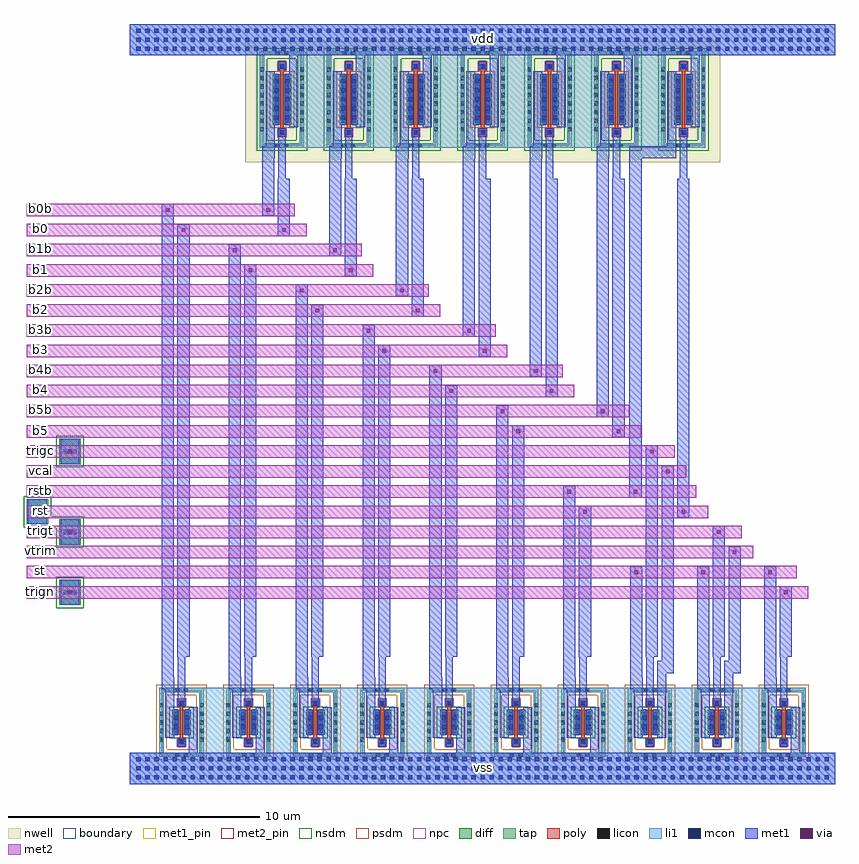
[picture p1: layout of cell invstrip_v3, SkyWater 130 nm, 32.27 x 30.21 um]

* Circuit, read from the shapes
.subckt invstrip_v3 b0 b0b b1 b1b b2 b2b b3 b3b b4 b4b b5 b5b rst rstb st trigc trign trigt vcal vdd vss vtrim
XM1 vss b0 b0b vss sky130_fd_pr__nfet_01v8 w=1 l=0.15
XM2 vss b1 b1b vss sky130_fd_pr__nfet_01v8 w=1 l=0.15
XM3 vss b2 b2b vss sky130_fd_pr__nfet_01v8 w=1 l=0.15
XM4 vss b3 b3b vss sky130_fd_pr__nfet_01v8 w=1 l=0.15
XM5 vss b4 b4b vss sky130_fd_pr__nfet_01v8 w=1 l=0.15
XM6 vss b5 b5b vss sky130_fd_pr__nfet_01v8 w=1 l=0.15
XM7 vss rst rstb vss sky130_fd_pr__nfet_01v8 w=1 l=0.15
XM8 vcal trigc st vss sky130_fd_pr__nfet_01v8 w=1 l=0.15
XM9 vtrim trigt st vss sky130_fd_pr__nfet_01v8 w=1 l=0.15
XM10 vss trign st vss sky130_fd_pr__nfet_01v8 w=1 l=0.15
XM11 vdd b0 b0b vdd sky130_fd_pr__pfet_01v8 w=2 l=0.15
XM12 vdd b1 b1b vdd sky130_fd_pr__pfet_01v8 w=2 l=0.15
XM13 vdd b2 b2b vdd sky130_fd_pr__pfet_01v8 w=2 l=0.15
XM14 vdd b3 b3b vdd sky130_fd_pr__pfet_01v8 w=2 l=0.15
XM15 vdd b4 b4b vdd sky130_fd_pr__pfet_01v8 w=2 l=0.15
XM16 vdd b5 b5b vdd sky130_fd_pr__pfet_01v8 w=2 l=0.15
XM17 vdd rst rstb vdd sky130_fd_pr__pfet_01v8 w=2 l=0.15
.ends

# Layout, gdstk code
import gdstk
lib = gdstk.Library(unit=1e-6, precision=1e-09)
def R(c, l, rs):  # rectangles x0, y0, x1, y1
    for r in rs: c.add(gdstk.rectangle(r[:2], r[2:], *l))
def A(c, l, x, y, w, h, nx, ny, dx, dy):  # array of equal rectangles
    R(c, l, [(x+i*dx, y+j*dy, x+i*dx+w, y+j*dy+h) for i in range(nx) for j in range(ny)])
nwell = (64, 20)
diff = (65, 20)
tap = (65, 44)
poly = (66, 20)
licon = (66, 44)
li1 = (67, 20)
mcon = (67, 44)
met1_pin = (68, 16)
met1 = (68, 20)
via = (68, 44)
met2_pin = (69, 16)
met2 = (69, 20)
nsdm = (93, 44)
psdm = (94, 20)
npc = (95, 20)
boundary = (235, 4)

sky130_fd_pr__nfet_01v8_ = lib.new_cell('sky130_fd_pr__nfet_01v8_LB55D5')
R(sky130_fd_pr__nfet_01v8_, diff, [(-0.365,-0.5,0.365,0.5)])
R(sky130_fd_pr__nfet_01v8_, tap, [(-0.875,-1.37,0.875,-1.2), (-0.875,-1.2,-0.705,1.2), (0.705,-1.2,0.875,1.2), (-0.875,1.2,0.875,1.37)])
R(sky130_fd_pr__nfet_01v8_, poly, [(-0.165,-0.94,0.165,-0.61), (-0.075,-0.61,0.075,0.61), (-0.165,0.61,0.165,0.94)])
A(sky130_fd_pr__nfet_01v8_, licon, -0.875, -0.765, 0.17, 0.17, 1, 5, 0, 0.34)
A(sky130_fd_pr__nfet_01v8_, licon, 0.705, -0.765, 0.17, 0.17, 1, 5, 0, 0.34)
A(sky130_fd_pr__nfet_01v8_, licon, -0.305, -0.425, 0.17, 0.17, 1, 3, 0, 0.34)
A(sky130_fd_pr__nfet_01v8_, licon, 0.135, -0.425, 0.17, 0.17, 1, 3, 0, 0.34)
R(sky130_fd_pr__nfet_01v8_, licon, [(-0.255,-1.37,-0.085,-1.2), (0.085,-1.37,0.255,-1.2), (-0.085,-0.86,0.085,-0.69), (-0.085,0.69,0.085,0.86), (-0.255,1.2,-0.085,1.37), (0.085,1.2,0.255,1.37)])
R(sky130_fd_pr__nfet_01v8_, li1, [(-0.875,-1.37,0.875,-1.2), (-0.875,-1.2,-0.705,1.2), (0.705,-1.2,0.875,1.2), (-0.165,-0.86,0.165,-0.69), (-0.305,-0.52,-0.135,0.52), (0.135,-0.52,0.305,0.52), (-0.165,0.69,0.165,0.86), (-0.875,1.2,0.875,1.37)])
R(sky130_fd_pr__nfet_01v8_, mcon, [(-0.085,-0.86,0.085,-0.69), (-0.305,-0.265,-0.135,-0.095), (0.135,-0.265,0.305,-0.095), (-0.305,0.095,-0.135,0.265), (0.135,0.095,0.305,0.265), (-0.085,0.69,0.085,0.86)])
R(sky130_fd_pr__nfet_01v8_, met1, [(-0.145,-0.89,0.145,-0.66), (-0.335,-0.5,-0.105,0.5), (0.105,-0.5,0.335,0.5), (-0.145,0.66,0.145,0.89)])
R(sky130_fd_pr__nfet_01v8_, nsdm, [(-0.49,-0.625,0.49,0.625)])
R(sky130_fd_pr__nfet_01v8_, psdm, [(-1,-1.495,1,-1.075), (-1,-1.075,-0.58,1.075), (0.58,-1.075,1,1.075), (-1,1.075,1,1.495)])
R(sky130_fd_pr__nfet_01v8_, npc, [(-0.185,-0.96,0.185,-0.59), (-0.185,0.59,0.185,0.96)])
R(sky130_fd_pr__nfet_01v8_, boundary, [(-0.79,-1.285,0.79,1.285)])
sky130_fd_pr__nfet_01v8_.add(gdstk.Label('B', (0,-1.285), layer=67, texttype=5))
sky130_fd_pr__nfet_01v8_.add(gdstk.Label('D', (-0.22,0), layer=67, texttype=5))
sky130_fd_pr__nfet_01v8_.add(gdstk.Label('S', (0.22,0), layer=67, texttype=5))
sky130_fd_pr__nfet_01v8_.add(gdstk.Label('G', (0,0.775), layer=67, texttype=5))

sky130_fd_pr__pfet_01v8_ = lib.new_cell('sky130_fd_pr__pfet_01v8_M3PB37')
R(sky130_fd_pr__pfet_01v8_, nwell, [(-1.055,-2.095,1.055,2.095)])
R(sky130_fd_pr__pfet_01v8_, diff, [(-0.365,-1,0.365,1)])
R(sky130_fd_pr__pfet_01v8_, tap, [(-0.875,-1.915,0.875,-1.745), (-0.875,-1.745,-0.705,1.745), (0.705,-1.745,0.875,1.745), (-0.875,1.745,0.875,1.915)])
R(sky130_fd_pr__pfet_01v8_, poly, [(-0.165,-1.485,0.165,-1.155), (-0.075,-1.155,0.075,1.155), (-0.165,1.155,0.165,1.485)])
A(sky130_fd_pr__pfet_01v8_, licon, -0.875, -1.275, 0.17, 0.17, 1, 8, 0, 0.34)
A(sky130_fd_pr__pfet_01v8_, licon, 0.705, -1.275, 0.17, 0.17, 1, 8, 0, 0.34)
A(sky130_fd_pr__pfet_01v8_, licon, -0.305, -0.935, 0.17, 0.17, 1, 6, 0, 0.34)
A(sky130_fd_pr__pfet_01v8_, licon, 0.135, -0.935, 0.17, 0.17, 1, 6, 0, 0.34)
R(sky130_fd_pr__pfet_01v8_, licon, [(-0.255,-1.915,-0.085,-1.745), (0.085,-1.915,0.255,-1.745), (-0.085,-1.405,0.085,-1.235), (-0.085,1.235,0.085,1.405), (-0.255,1.745,-0.085,1.915), (0.085,1.745,0.255,1.915)])
R(sky130_fd_pr__pfet_01v8_, li1, [(-0.875,-1.915,0.875,-1.745), (-0.875,-1.745,-0.705,1.745), (0.705,-1.745,0.875,1.745), (-0.165,-1.405,0.165,-1.235), (-0.305,-1.02,-0.135,1.02), (0.135,-1.02,0.305,1.02), (-0.165,1.235,0.165,1.405), (-0.875,1.745,0.875,1.915)])
A(sky130_fd_pr__pfet_01v8_, mcon, -0.305, -0.805, 0.17, 0.17, 1, 5, 0, 0.36)
A(sky130_fd_pr__pfet_01v8_, mcon, 0.135, -0.805, 0.17, 0.17, 1, 5, 0, 0.36)
R(sky130_fd_pr__pfet_01v8_, mcon, [(-0.085,-1.405,0.085,-1.235), (-0.085,1.235,0.085,1.405)])
R(sky130_fd_pr__pfet_01v8_, met1, [(-0.145,-1.435,0.145,-1.205), (-0.335,-1,-0.105,1), (0.105,-1,0.335,1), (-0.145,1.205,0.145,1.435)])
R(sky130_fd_pr__pfet_01v8_, nsdm, [(-1,-2.04,1,-1.62), (-1,-1.62,-0.58,1.62), (0.58,-1.62,1,1.62), (-1,1.62,1,2.04)])
R(sky130_fd_pr__pfet_01v8_, psdm, [(-0.49,-1.125,0.49,1.125)])
R(sky130_fd_pr__pfet_01v8_, npc, [(-0.185,-1.505,0.185,-1.135), (-0.185,1.135,0.185,1.505)])
R(sky130_fd_pr__pfet_01v8_, boundary, [(-0.79,-1.83,0.79,1.83)])
sky130_fd_pr__pfet_01v8_.add(gdstk.Label('B', (0,-1.83), layer=67, texttype=5))
sky130_fd_pr__pfet_01v8_.add(gdstk.Label('D', (-0.22,0), layer=67, texttype=5))
sky130_fd_pr__pfet_01v8_.add(gdstk.Label('S', (0.22,0), layer=67, texttype=5))
sky130_fd_pr__pfet_01v8_.add(gdstk.Label('G', (0,1.32), layer=67, texttype=5))

invstrip_v3 = lib.new_cell('invstrip_v3')
R(invstrip_v3, nwell, [(3.59,-5.49,22.46,-0.68)])
R(invstrip_v3, diff, [(-3.8,-23.09,-2.95,-22.09), (-3.8,-20.69,-2.95,-19.69), (-5.1,-19.89,-4.25,-18.89), (-3.8,-17.49,-2.95,-16.49)])
R(invstrip_v3, licon, [(-3.63,-22.675,-3.46,-22.505), (-3.29,-22.675,-3.12,-22.505), (-3.63,-20.275,-3.46,-20.105), (-3.29,-20.275,-3.12,-20.105), (-4.93,-19.475,-4.76,-19.305), (-4.59,-19.475,-4.42,-19.305), (-3.63,-17.075,-3.46,-16.905), (-3.29,-17.075,-3.12,-16.905)])
A(invstrip_v3, li1, 1.93, -28.96, 0.91, 2.57, 9, 1, 2.66, 0)
A(invstrip_v3, li1, 5.92, -4.91, 0.91, 3.66, 6, 1, 2.66, 0)
R(invstrip_v3, li1, [(-1,-30.21,27.05,-28.96), (-3.75,-23.09,-3,-22.09), (-3.75,-20.69,-3,-19.69), (-5.05,-19.89,-4.3,-18.89), (-3.75,-17.49,-3,-16.49), (-1,-1.25,27.05,0)])
A(invstrip_v3, mcon, -0.74, -30.03, 0.17, 0.17, 77, 3, 0.36, 0.36)
A(invstrip_v3, mcon, -0.74, -1.07, 0.17, 0.17, 77, 3, 0.36, 0.36)
R(invstrip_v3, mcon, [(-3.46,-22.675,-3.29,-22.505), (-3.46,-20.275,-3.29,-20.105), (-4.76,-19.475,-4.59,-19.305), (-3.46,-17.075,-3.29,-16.905)])
R(invstrip_v3, met1_pin, [(13.025,-29.585,13.125,-29.485), (13.025,-0.625,13.125,-0.525)])
A(invstrip_v3, met1, 1.34, -28.96, 0.36, 1.81, 7, 1, 2.66, 0)
A(invstrip_v3, met1, 0.91, -28.745, 0.29, 0.295, 10, 1, 2.66, 0)
A(invstrip_v3, met1, 0.41, -28.37, 0.36, 1.92, 10, 1, 2.66, 0)
A(invstrip_v3, met1, 0.91, -27.12, 0.29, 1.97, 10, 1, 2.66, 0)
A(invstrip_v3, met1, 0.27, -26.45, 0.5, 0.48, 10, 1, 2.66, 0)
A(invstrip_v3, met1, 18.89, -25.97, 0.48, 4.42, 3, 1, 2.66, 0)
A(invstrip_v3, met1, 4.9, -6.15, 0.29, 2.015, 7, 1, 2.66, 0)
A(invstrip_v3, met1, 4.26, -5.33, 0.5, 0.48, 6, 1, 2.66, 0)
A(invstrip_v3, met1, 4.4, -4.85, 0.36, 2.965, 7, 1, 2.66, 0)
A(invstrip_v3, met1, 5.33, -4.105, 0.36, 2.855, 7, 1, 2.66, 0)
A(invstrip_v3, met1, 4.9, -1.76, 0.29, 0.295, 7, 1, 2.66, 0)
R(invstrip_v3, met1, [(-1,-30.21,27.05,-28.96), (25.28,-28.96,25.64,-27.15), (19.96,-28.37,20.32,-25.8), (22.62,-28.37,22.98,-25.8), (0.27,-25.97,0.75,-7.15), (2.93,-25.97,3.41,-8.75), (5.59,-25.97,6.07,-10.35), (8.25,-25.97,8.73,-11.95), (10.91,-25.97,11.39,-13.55), (13.57,-25.97,14.05,-15.15), (16.23,-25.97,16.71,-18.35), (19.96,-25.8,20.62,-25.32), (22.62,-25.8,23.28,-25.32), (20.14,-25.32,20.62,-17.55), (22.8,-25.32,23.28,-20.75), (0.895,-25.15,1.375,-7.95), (3.555,-25.15,4.035,-9.55), (6.215,-25.15,6.695,-11.15), (8.875,-25.15,9.355,-12.75), (11.535,-25.15,12.015,-14.35), (14.195,-25.15,14.675,-15.95), (16.855,-25.15,17.335,-19.15), (19.515,-25.15,19.995,-16.75), (22.175,-25.15,22.655,-19.95), (24.835,-25.15,25.315,-22.35), (-3.75,-23.09,-3,-22.09), (-3.75,-20.69,-3,-19.69), (-5.05,-19.89,-4.3,-18.89), (20.765,-19.63,21.245,-6.15), (18.86,-18.83,19.34,-5.33), (-3.75,-17.49,-3,-16.49), (18.185,-16.43,18.665,-6.15), (17.56,-15.63,18.04,-5.33), (15.525,-14.83,16.005,-6.15), (14.9,-14.03,15.38,-5.33), (12.865,-13.23,13.345,-6.15), (12.24,-12.43,12.72,-5.33), (10.205,-11.63,10.685,-6.15), (9.58,-10.83,10.06,-5.33), (7.545,-10.03,8.025,-6.15), (6.92,-9.23,7.4,-5.33), (4.885,-8.43,5.365,-6.15), (4.26,-7.63,4.74,-5.33), (18.86,-5.33,20.72,-4.85), (-1,-1.25,27.05,0)])
A(invstrip_v3, via, 19.055, -21.865, 0.15, 0.15, 3, 1, 2.66, 0)
R(invstrip_v3, via, [(-3.45,-22.665,-3.3,-22.515), (25,-22.665,25.15,-22.515), (22.965,-21.065,23.115,-20.915), (-3.45,-20.265,-3.3,-20.115), (22.34,-20.265,22.49,-20.115), (-4.75,-19.465,-4.6,-19.315), (17.02,-19.465,17.17,-19.315), (20.93,-19.465,21.08,-19.315), (16.395,-18.665,16.545,-18.515), (19.025,-18.665,19.175,-18.515), (20.305,-17.865,20.455,-17.715), (-3.45,-17.065,-3.3,-16.915), (19.68,-17.065,19.83,-16.915), (14.36,-16.265,14.51,-16.115), (18.35,-16.265,18.5,-16.115), (13.735,-15.465,13.885,-15.315), (17.725,-15.465,17.875,-15.315), (11.7,-14.665,11.85,-14.515), (15.69,-14.665,15.84,-14.515), (11.075,-13.865,11.225,-13.715), (15.065,-13.865,15.215,-13.715), (9.04,-13.065,9.19,-12.915), (13.03,-13.065,13.18,-12.915), (8.415,-12.265,8.565,-12.115), (12.405,-12.265,12.555,-12.115), (6.38,-11.465,6.53,-11.315), (10.37,-11.465,10.52,-11.315), (5.755,-10.665,5.905,-10.515), (9.745,-10.665,9.895,-10.515), (3.72,-9.865,3.87,-9.715), (7.71,-9.865,7.86,-9.715), (3.095,-9.065,3.245,-8.915), (7.085,-9.065,7.235,-8.915), (1.06,-8.265,1.21,-8.115), (5.05,-8.265,5.2,-8.115), (0.435,-7.465,0.585,-7.315), (4.425,-7.465,4.575,-7.315)])
A(invstrip_v3, met2_pin, -4.6, -22.59, 0.1, 0.1, 1, 20, 0, 0.8)
R(invstrip_v3, met2, [(-5.1,-22.84,25.975,-22.34), (-5.1,-22.04,25.51,-21.54), (-5.1,-21.24,23.78,-20.74), (-5.1,-20.44,23.315,-19.94), (-5.1,-19.64,21.985,-19.14), (-5.1,-18.84,21.52,-18.34), (-5.1,-18.04,21.12,-17.54), (-5.1,-17.24,20.655,-16.74), (-5.1,-16.44,19.325,-15.94), (-5.1,-15.64,18.86,-15.14), (-5.1,-14.84,16.665,-14.34), (-5.1,-14.04,16.2,-13.54), (-5.1,-13.24,14.005,-12.74), (-5.1,-12.44,13.54,-11.94), (-5.1,-11.64,11.345,-11.14), (-5.1,-10.84,10.88,-10.34), (-5.1,-10.04,8.685,-9.54), (-5.1,-9.24,8.22,-8.74), (-5.1,-8.44,6.025,-7.94), (-5.1,-7.64,5.56,-7.14)])
R(invstrip_v3, nsdm, [(-3.925,-23.215,-2.825,-21.965), (-3.925,-20.815,-2.825,-20.015), (-5.225,-20.015,-2.825,-19.565), (-5.225,-19.565,-4.125,-18.765), (-3.925,-17.615,-2.825,-16.365)])
invstrip_v3.add(gdstk.Reference(sky130_fd_pr__nfet_01v8_, (1.055,-27.76)))
invstrip_v3.add(gdstk.Reference(sky130_fd_pr__nfet_01v8_, (3.715,-27.76)))
invstrip_v3.add(gdstk.Reference(sky130_fd_pr__nfet_01v8_, (6.375,-27.76)))
invstrip_v3.add(gdstk.Reference(sky130_fd_pr__nfet_01v8_, (9.035,-27.76)))
invstrip_v3.add(gdstk.Reference(sky130_fd_pr__nfet_01v8_, (11.695,-27.76)))
invstrip_v3.add(gdstk.Reference(sky130_fd_pr__nfet_01v8_, (19.675,-27.76)))
invstrip_v3.add(gdstk.Reference(sky130_fd_pr__nfet_01v8_, (14.355,-27.76)))
invstrip_v3.add(gdstk.Reference(sky130_fd_pr__nfet_01v8_, (17.015,-27.76)))
invstrip_v3.add(gdstk.Reference(sky130_fd_pr__nfet_01v8_, (22.335,-27.76)))
invstrip_v3.add(gdstk.Reference(sky130_fd_pr__nfet_01v8_, (24.995,-27.76)))
invstrip_v3.add(gdstk.Reference(sky130_fd_pr__pfet_01v8_, (5.045,-2.995)))
invstrip_v3.add(gdstk.Reference(sky130_fd_pr__pfet_01v8_, (7.705,-2.995)))
invstrip_v3.add(gdstk.Reference(sky130_fd_pr__pfet_01v8_, (10.365,-2.995)))
invstrip_v3.add(gdstk.Reference(sky130_fd_pr__pfet_01v8_, (13.025,-2.995)))
invstrip_v3.add(gdstk.Reference(sky130_fd_pr__pfet_01v8_, (15.685,-2.995)))
invstrip_v3.add(gdstk.Reference(sky130_fd_pr__pfet_01v8_, (18.345,-2.995)))
invstrip_v3.add(gdstk.Reference(sky130_fd_pr__pfet_01v8_, (21.005,-2.995)))
invstrip_v3.add(gdstk.Label('vdd', (13.075,-0.575), layer=68, texttype=5))
invstrip_v3.add(gdstk.Label('vcal', (-4.55,-17.74), layer=69, texttype=5))
invstrip_v3.add(gdstk.Label('vtrim', (-4.55,-20.94), layer=69, texttype=5))
invstrip_v3.add(gdstk.Label('trigc', (-4.55,-16.94), layer=69, texttype=5))
invstrip_v3.add(gdstk.Label('trigt', (-4.55,-20.14), layer=69, texttype=5))
invstrip_v3.add(gdstk.Label('trign', (-4.55,-22.54), layer=69, texttype=5))
invstrip_v3.add(gdstk.Label('b0', (-4.55,-8.14), layer=69, texttype=5))
invstrip_v3.add(gdstk.Label('b1', (-4.55,-9.74), layer=69, texttype=5))
invstrip_v3.add(gdstk.Label('b2', (-4.55,-11.34), layer=69, texttype=5))
invstrip_v3.add(gdstk.Label('b3', (-4.55,-12.94), layer=69, texttype=5))
invstrip_v3.add(gdstk.Label('b4', (-4.55,-14.54), layer=69, texttype=5))
invstrip_v3.add(gdstk.Label('b5', (-4.55,-16.14), layer=69, texttype=5))
invstrip_v3.add(gdstk.Label('rst', (-4.55,-19.34), layer=69, texttype=5))
invstrip_v3.add(gdstk.Label('vss', (13.075,-29.535), layer=68, texttype=5))
invstrip_v3.add(gdstk.Label('st', (-4.55,-21.74), layer=69, texttype=5))
invstrip_v3.add(gdstk.Label('b0b', (-4.55,-7.34), layer=69, texttype=5))
invstrip_v3.add(gdstk.Label('b1b', (-4.55,-8.94), layer=69, texttype=5))
invstrip_v3.add(gdstk.Label('b2b', (-4.55,-10.54), layer=69, texttype=5))
invstrip_v3.add(gdstk.Label('b3b', (-4.55,-12.14), layer=69, texttype=5))
invstrip_v3.add(gdstk.Label('b4b', (-4.55,-13.74), layer=69, texttype=5))
invstrip_v3.add(gdstk.Label('b5b', (-4.55,-15.34), layer=69, texttype=5))
invstrip_v3.add(gdstk.Label('rstb', (-4.55,-18.54), layer=69, texttype=5))

lib.write_gds('invstrip_v3.gds')
